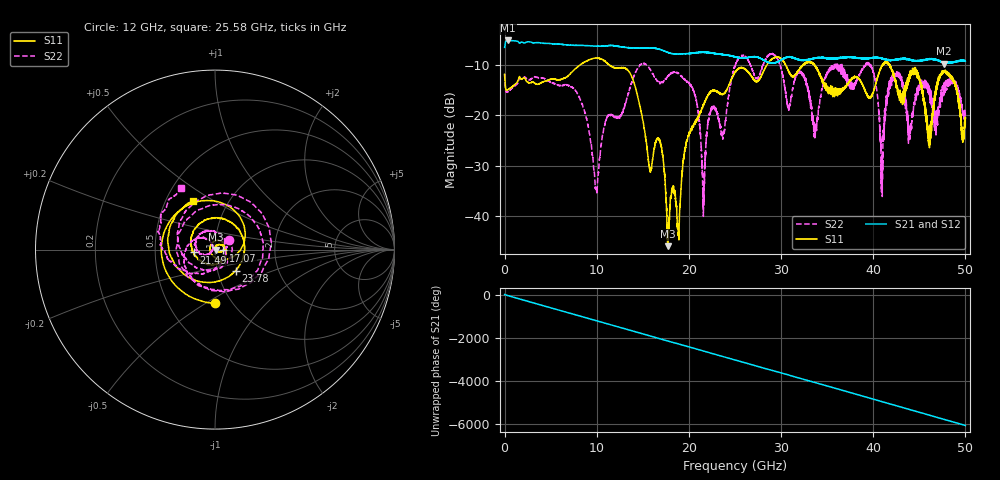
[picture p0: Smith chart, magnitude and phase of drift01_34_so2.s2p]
!Created with skrf (http://scikit-rf.org).
# Hz S RI R 50.0
!freq ReS11 ImS11 ReS21 ImS21 ReS12 ImS12 ReS22 ImS22
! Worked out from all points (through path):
!   10001 points, 300 kHz to 50 GHz, reference 50 ohm
!   highest |S21| = -5.05 dB at 400.3 MHz (marker M1); lowest = -9.7 dB at 47.67 GHz (marker M2)
!   group delay of S21, straight-line fit = 336 ps
!   lowest |S11| = -46.1 dB at 17.69 GHz (marker M3), VSWR 1.01, Z = 50.5 - j0.102 ohm
!   |S11| at or under -10 dB: start of sweep to 8.151 GHz; 11.41 GHz to 28.44 GHz (17.02 GHz wide, 85.4 % of centre); 41.8 GHz to end of sweep (the widest 3 of 15)
!   |S22| runs from -40.2 to -7.6 dB; largest |S21 - S12| = 0.014
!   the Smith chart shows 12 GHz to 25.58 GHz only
!   S11 on the Smith chart (normalised r, x): 12 GHz: 0.83, -0.54; 17.07 GHz: 1.09, -0.01; 21.49 GHz: 0.79, -0.03; 23.78 GHz: 1.22, -0.30; 25.58 GHz: 0.69, +0.41
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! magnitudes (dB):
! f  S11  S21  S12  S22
! 300 kHz  -11.8  -6.4  -6.5  -11.7
! 400.3 MHz  -14.8  -5.1  -5.1  -15.2
! 8.335 GHz  -9.8  -6.0  -6.0  -17.4
! 9.94 GHz  -8.6  -6.2  -6.2  -34.6
! 12 GHz  -10.5  -6.1  -6.1  -20.4
! 15.78 GHz  -31.0  -6.5  -6.5  -10.8
! 16.67 GHz  -24.6  -6.8  -6.7  -13.4
! 17.07 GHz  -26.9  -7.0  -7.0  -13.5
! 17.69 GHz  -46.1  -7.4  -7.4  -12.3
! 20.5 GHz  -22.2  -7.6  -7.6  -15.0
! 21.49 GHz  -18.4  -7.4  -7.4  -33.4
! 22.45 GHz  -15.1  -7.5  -7.5  -18.6
! 23.78 GHz  -15.7  -7.9  -7.9  -23.2
! 25 GHz  -11.4  -8.3  -8.3  -10.2
! 25.58 GHz  -10.6  -8.5  -8.6  -8.2
! 33.34 GHz  -9.5  -8.7  -8.7  -19.6
! 39.51 GHz  -16.4  -8.6  -8.6  -9.9
! 40.95 GHz  -10.2  -8.7  -8.6  -29.4
! 41.67 GHz  -9.8  -8.8  -9.0  -14.7
! 46.08 GHz  -25.2  -8.7  -8.8  -15.2
! 47.67 GHz  -11.2  -9.7  -9.6  -14.7
! 50 GHz  -20.6  -9.2  -9.2  -20.6
